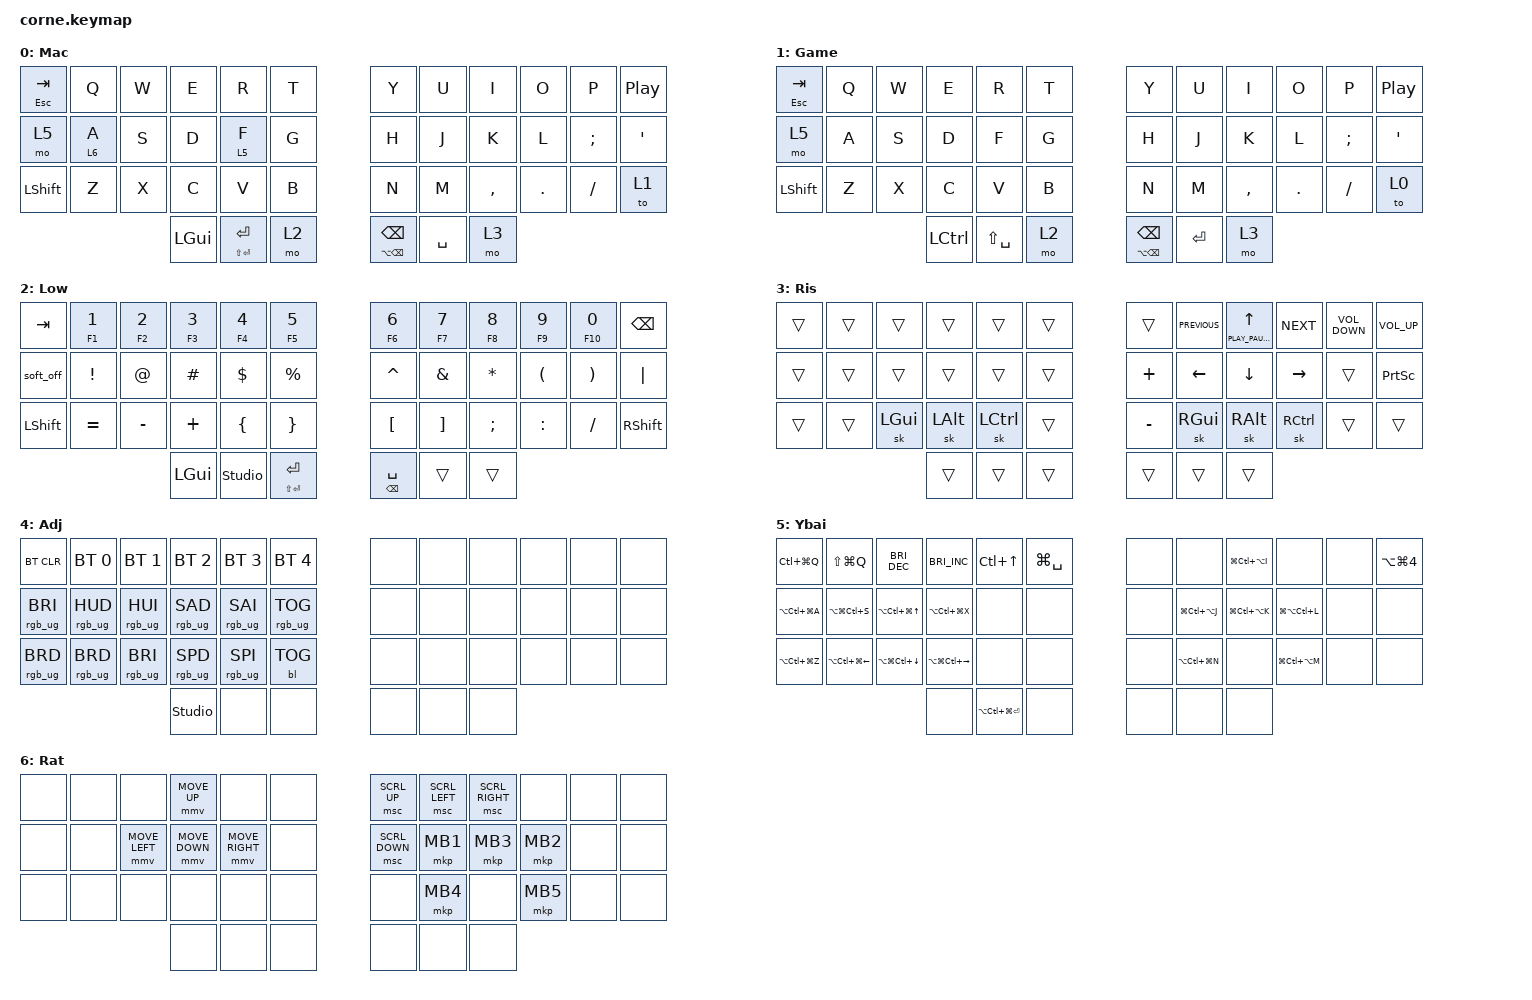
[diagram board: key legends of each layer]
/*
 * Copyright (c) 2020 The ZMK Contributors
 *
 * SPDX-License-Identifier: MIT
 */

#include <dt-bindings/zmk/mouse.h>
#include <behaviors.dtsi>
#include <dt-bindings/zmk/backlight.h>
#include <dt-bindings/zmk/bt.h>
#include <dt-bindings/zmk/keys.h>
#include <dt-bindings/zmk/pointing.h>
#include <dt-bindings/zmk/pointing.h>
#include <dt-bindings/zmk/pointing.h>
#include <dt-bindings/zmk/rgb.h>

&led_strip { chain-length = <54>; };

&soft_off {
    hold-time-ms = <50>; // Only turn off it the key is held for 5 seconds or longer.
};

&mmv { time-to-max-speed-ms = <4000>; };

/ {
    macros {
        launch_sndvol: launch_sndvol {
            compatible = "zmk,behavior-macro";
            #binding-cells = <0>;
            bindings = <&kp LG(R) &kp S &kp N &kp D &kp V &kp O &kp L &kp DOT &kp E &kp X &kp E &kp ENTER>;
            wait-ms = <20>;
        };
    };
};

/ {
    // Activate ADJUST layer by pressing raise and lower

    conditional_layers {
        compatible = "zmk,conditional-layers";

        adjust_layer {
            if-layers = <3 2>;
            then-layer = <4>;
        };
    };

    keymap {
        compatible = "zmk,keymap";

        defaultLayer {
            display-name = "Mac";

            // -----------------------------------------------------------------------------------------
            // |  TAB |  Q  |  W  |  E  |  R  |  T  |   |  Y  |  U   |  I  |  O  |  P  | BKSP |
            // | CTRL |  A  |  S  |  D  |  F  |  G  |   |  H  |  J   |  K  |  L  |  ;  |  '   |
            // | SHFT |  Z  |  X  |  C  |  V  |  B  |   |  N  |  M   |  ,  |  .  |  /  | ESC  |
            //                    | GUI | LWR | SPC |   | ENT | RSE  | ALT |

            bindings = <
&mt ESCAPE TAB  &kp Q    &kp W  &kp E     &kp R                &kp T    &kp Y                        &kp U      &kp I      &kp O    &kp P     &kp C_PLAY_PAUSE
&mo 5           &lt 6 A  &kp S  &kp D     &lt 5 F              &kp G    &kp H                        &kp J      &kp K      &kp L    &kp SEMI  &kp SQT
&kp LSHFT       &kp Z    &kp X  &kp C     &kp V                &kp B    &kp N                        &kp M      &kp COMMA  &kp DOT  &kp FSLH  &to 1
                                &kp LGUI  &mt LS(ENTER) ENTER  &mo 2    &mt LA(BACKSPACE) BACKSPACE  &kp SPACE  &mo 3
            >;
        };

        game {
            display-name = "Game";
            bindings = <
&mt ESCAPE TAB  &kp Q  &kp W  &kp E      &kp R          &kp T    &kp Y                        &kp U    &kp I      &kp O    &kp P     &kp C_PLAY_PAUSE
&mo 5           &kp A  &kp S  &kp D      &kp F          &kp G    &kp H                        &kp J    &kp K      &kp L    &kp SEMI  &kp SQT
&kp LSHFT       &kp Z  &kp X  &kp C      &kp V          &kp B    &kp N                        &kp M    &kp COMMA  &kp DOT  &kp FSLH  &to 0
                              &kp LCTRL  &kp LS(SPACE)  &mo 2    &mt LA(BACKSPACE) BACKSPACE  &kp RET  &mo 3
            >;
        };

        lowerLayer {
            display-name = "Low";

            // -----------------------------------------------------------------------------------------
            // |  TAB |  1  |  2  |  3  |  4  |  5  |   |  6  |  7  |  8  |  9  |  0  | BKSP |
            // | BTCLR| BT1 | BT2 | BT3 | BT4 | BT5 |   | LFT | DWN |  UP | RGT |     |      |
            // | SHFT |     |     |     |     |     |   |     |     |     |     |     |      |
            //                    | GUI |     | SPC |   | ENT |     | ALT |

            bindings = <
&kp TAB    &mt F1 NUMBER_1  &mt F2 NUMBER_2  &mt F3 NUMBER_3  &mt F4 NUMBER_4  &mt F5 NUMBER_5        &mt F6 NUMBER_6      &mt F7 NUMBER_7    &mt F8 NUMBER_8  &mt F9 NUMBER_9       &mt F10 NUMBER_0       &kp BSPC
&soft_off  &kp EXCLAMATION  &kp AT_SIGN      &kp HASH         &kp DOLLAR       &kp PERCENT            &kp CARET            &kp AMPERSAND      &kp ASTERISK     &kp LEFT_PARENTHESIS  &kp RIGHT_PARENTHESIS  &kp PIPE
&kp LSHFT  &kp EQUAL        &kp MINUS        &kp PLUS         &kp LEFT_BRACE   &kp RIGHT_BRACE        &kp LEFT_BRACKET     &kp RIGHT_BRACKET  &kp SEMICOLON    &kp COLON             &kp SLASH              &kp RIGHT_SHIFT
                                             &kp LGUI         &studio_unlock   &mt LS(ENTER) ENTER    &mt BACKSPACE SPACE  &trans             &trans
            >;
        };

        raiseLayer {
            display-name = "Ris";

            // -----------------------------------------------------------------------------------------
            // |  TAB |  !  |  @  |  #  |  $  |  %  |   |  ^  |  &  |  *  |  (  |  )  | BKSP |
            // | CTRL |     |     |     |     |     |   |  -  |  =  |  [  |  ]  |  \  |  `   |
            // | SHFT |     |     |     |     |     |   |  _  |  +  |  {  |  }  | "|" |  ~   |
            //                    | GUI |     | SPC |   | ENT |     | ALT |

            bindings = <
&trans  &trans  &trans        &trans        &trans            &trans    &trans     &kp C_PREVIOUS  &mt K_PLAY_PAUSE UP_ARROW  &kp C_NEXT         &kp C_VOLUME_DOWN  &kp C_VOLUME_UP
&trans  &trans  &trans        &trans        &trans            &trans    &kp PLUS   &kp LEFT_ARROW  &kp DOWN_ARROW             &kp RIGHT_ARROW    &trans             &kp PRINTSCREEN
&trans  &trans  &sk LEFT_GUI  &sk LEFT_ALT  &sk LEFT_CONTROL  &trans    &kp MINUS  &sk RIGHT_GUI   &sk RIGHT_ALT              &sk RIGHT_CONTROL  &trans             &trans
                              &trans        &trans            &trans    &trans     &trans          &trans
            >;

            label = "Ris";
        };

        adjustLayer {
            bindings = <
&bt BT_CLR       &bt BT_SEL 0     &bt BT_SEL 1     &bt BT_SEL 2     &bt BT_SEL 3     &bt BT_SEL 4       &none  &none  &none  &none  &none  &none
&rgb_ug RGB_BRI  &rgb_ug RGB_HUD  &rgb_ug RGB_HUI  &rgb_ug RGB_SAD  &rgb_ug RGB_SAI  &rgb_ug RGB_TOG    &none  &none  &none  &none  &none  &none
&rgb_ug RGB_BRD  &rgb_ug RGB_BRD  &rgb_ug RGB_BRI  &rgb_ug RGB_SPD  &rgb_ug RGB_SPI  &bl BL_TOG         &none  &none  &none  &none  &none  &none
                                                   &studio_unlock   &none            &none              &none  &none  &none
            >;

            label = "Adj";
        };

        yabai {
            bindings = <
&kp LC(LG(Q))      &kp LS(LG(Q))               &kp C_BRIGHTNESS_DEC        &kp C_BRIGHTNESS_INC         &kp LC(UP_ARROW)       &kp LG(SPACE)    &none  &none              &kp LG(LC(LA(I)))  &none              &none  &kp LA(LG(NUMBER_4))
&kp LA(LC(LG(A)))  &kp LA(LG(LC(S)))           &kp LA(LC(LG(UP_ARROW)))    &kp LA(LC(LG(X)))            &none                  &none            &none  &kp LG(LC(LA(J)))  &kp LG(LC(LA(K)))  &kp LG(LA(LC(L)))  &none  &none
&kp LA(LC(LG(Z)))  &kp LA(LC(LG(LEFT_ARROW)))  &kp LA(LG(LC(DOWN_ARROW)))  &kp LA(LG(LC(RIGHT_ARROW)))  &none                  &none            &none  &kp LA(LC(LG(N)))  &none              &kp LG(LC(LA(M)))  &none  &none
                                                                           &none                        &kp LA(LC(LG(ENTER)))  &none            &none  &none              &none
            >;

            label = "Ybai";
        };

        mouseKey {
            bindings = <
&none  &none  &none           &mmv MOVE_UP    &none            &none    &msc SCRL_UP    &msc SCRL_LEFT  &msc SCRL_RIGHT  &none     &none  &none
&none  &none  &mmv MOVE_LEFT  &mmv MOVE_DOWN  &mmv MOVE_RIGHT  &none    &msc SCRL_DOWN  &mkp MB1        &mkp MB3         &mkp MB2  &none  &none
&none  &none  &none           &none           &none            &none    &none           &mkp MB4        &none            &mkp MB5  &none  &none
                              &none           &none            &none    &none           &none           &none
            >;

            label = "Rat";
        };
    };
};
